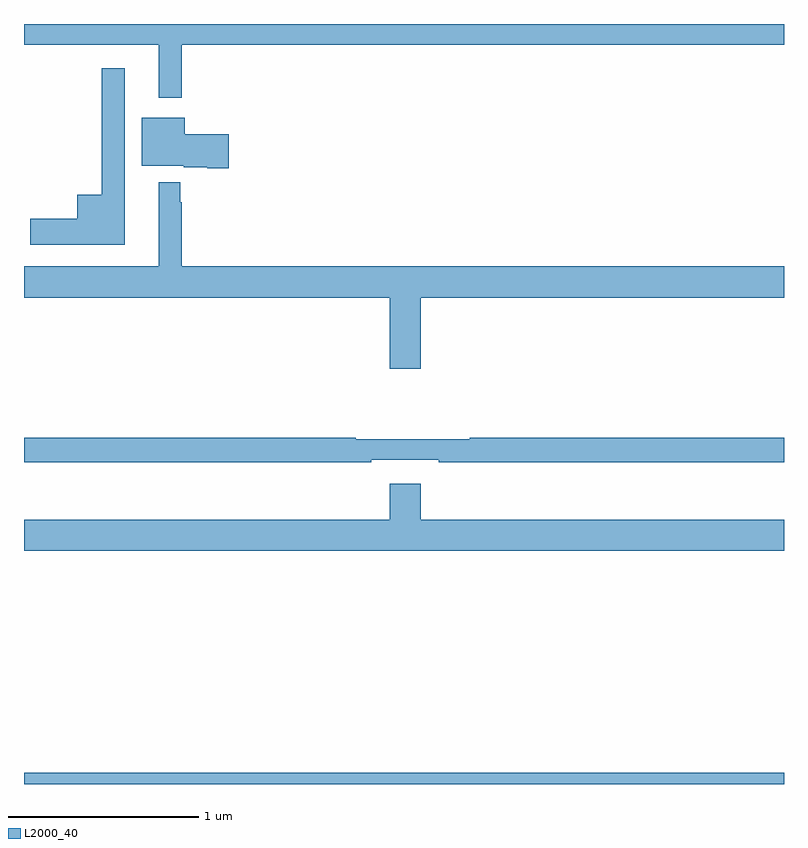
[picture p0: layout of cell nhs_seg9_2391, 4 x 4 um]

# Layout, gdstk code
import gdstk
lib = gdstk.Library(unit=1e-6, precision=1e-09)
def R(c, l, rs):  # rectangles x0, y0, x1, y1
    for r in rs: c.add(gdstk.rectangle(r[:2], r[2:], *l))
def P(c, l, *ps):  # polygons
    for p in ps: c.add(gdstk.Polygon(p, *l))
L2000_40 = (2000, 40)

nhs_seg9_2391 = lib.new_cell('nhs_seg9_2391')
R(nhs_seg9_2391, L2000_40, [(247,1220.5,251,1220.56)])
P(nhs_seg9_2391, L2000_40, [(247.831,1224.392),(251,1224.392),(251,1224.5),(247,1224.5),(247,1224.392),(247.709,1224.392),(247.709,1224.111),(247.831,1224.111)],
  [(247.531,1224.268),(247.41,1224.268),(247.41,1223.602),(247.28,1223.602),(247.28,1223.474),(247.032,1223.474),(247.032,1223.339),(247.531,1223.339)],
  [(248.077,1223.919),(247.846,1223.919),(247.846,1224.007),(247.619,1224.007),(247.619,1223.753),(247.842,1223.753),(247.842,1223.747),(247.964,1223.747),(247.964,1223.741),(248.077,1223.741)],
  [(249.088,1223.06),(251,1223.06),(251,1223.224),(247.831,1223.224),(247.831,1223.561),(247.823,1223.561),(247.823,1223.668),(247.709,1223.668),(247.709,1223.224),(247,1223.224),(247,1223.06),(248.924,1223.06),(248.924,1222.686),(249.088,1222.686)],
  [(248.828,1222.206),(249.184,1222.206),(249.184,1222.194),(251,1222.194),(251,1222.322),(249.345,1222.322),(249.345,1222.315),(248.745,1222.315),(248.745,1222.322),(247,1222.322),(247,1222.194),(248.828,1222.194)],
  [(251,1221.892),(249.088,1221.892),(249.088,1222.081),(248.924,1222.081),(248.924,1221.892),(247,1221.892),(247,1221.728),(251,1221.728)])

lib.write_gds('nhs_seg9_2391.gds')
